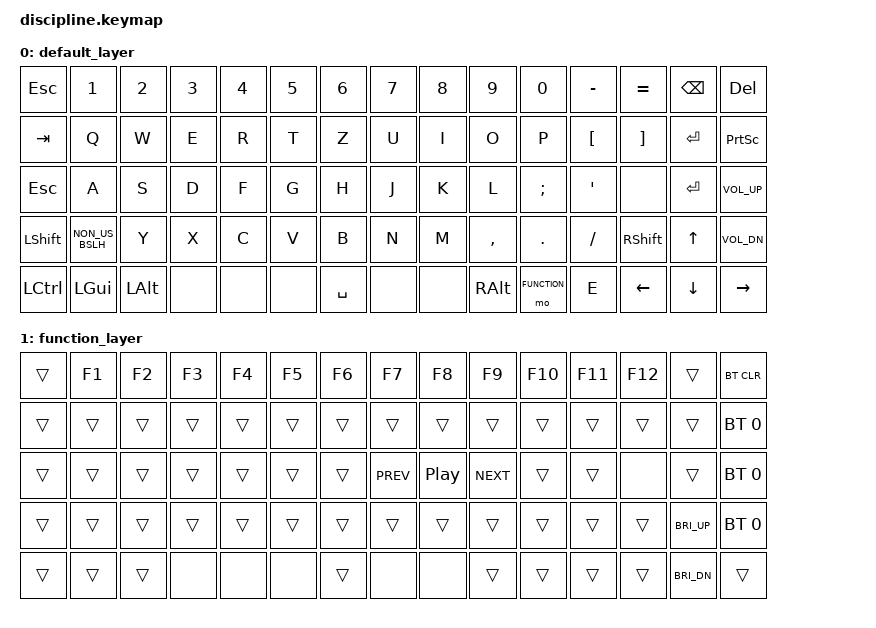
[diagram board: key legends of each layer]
#include <behaviors.dtsi>
#include <dt-bindings/zmk/keys.h>
#include <dt-bindings/zmk/bt.h>

#define DEFAULT 0
#define FUNCTION 1

/ {
	keymap {
		compatible = "zmk,keymap";

		default_layer {
			bindings = <
				&kp ESC		&kp N1		&kp N2		&kp N3	&kp N4	&kp N5	&kp N6		&kp N7	&kp N8	&kp N9		&kp N0		&kp MINUS	&kp EQUAL	&kp BSPC	&kp DEL
				&kp TAB		&kp Q		&kp W		&kp E	&kp R	&kp T	&kp Z		&kp U	&kp I	&kp O		&kp P		&kp LBKT	&kp RBKT	&kp RET		&kp PSCRN
				&kp ESC		&kp A		&kp S		&kp D	&kp F	&kp G	&kp H		&kp J	&kp K	&kp L		&kp SEMI	&kp SQT		&none		&kp RET		&kp C_VOL_UP
				&kp LSHFT	&kp NON_US_BSLH	&kp Y		&kp X	&kp C	&kp V	&kp B		&kp N	&kp M	&kp COMMA	&kp DOT		&kp FSLH	&kp RSHFT	&kp UP		&kp C_VOL_DN
				&kp LCTRL	&kp LGUI	&kp LALT	&none	&none	&none	&kp SPACE	&none	&none	&kp RALT	&mo FUNCTION	&kp E		&kp LEFT	&kp DOWN	&kp RIGHT	

			//	&kp B	&kp B	&kp B	&kp B	&kp B	&kp B	&kp B	&kp B	&kp B	&kp B	&kp B	&kp B	&kp B	&kp B	&kp B	
			//	&kp C	&kp C	&kp C	&kp C	&kp C	&kp C	&kp C	&kp C	&kp C	&kp C	&kp C	&kp C	&none	&kp C	&kp C	
			//	&kp D	&kp D	&kp D	&kp D	&kp D	&kp D	&kp D	&kp D	&kp D	&kp D	&kp D	&kp D	&kp D	&kp D	&kp D	
			//	&kp E	&kp E	&kp E	&none	&none	&none	&kp E	&none	&none	&kp E	&kp E	&kp E	&kp E	&kp E	&kp E	
				//&kp ESC	&kp A	&kp S	&kp D	&kp F	&kp G	&kp H	&kp J	&kp K	&kp L	&kp SEMI	&kp SQT	&kp RET	&kp ESC
				//&kp LSHFT	&kp LT	&kp Y	&kp X	&kp C	&kp V	&kp B	&kp N	&kp M	&kp COMMA	&kp DOT	&kp FSLH	&kp RSHFT	&kp UP	&kp ESC
				//&kp LCTRL	&kp LWIN	&kp LALT	&kp SPACE	&kp RALT	&kp RWIN	&kp RCTRL	&kp LEFT	&kp DOWN	&kp RIGHT
			>;

		};

		function_layer {
			bindings = <
				&trans	&kp F1	&kp F2	&kp F3	&kp F4	&kp F5	&kp F6	&kp F7	&kp F8	&kp F9	&kp F10	&kp F11	&kp F12	&trans	&bt BT_CLR
				&trans	&trans	&trans	&trans	&trans	&trans	&trans	&trans	&trans	&trans	&trans	&trans	&trans	&trans	&bt BT_SEL 0
				&trans	&trans	&trans	&trans	&trans	&trans	&trans	&kp C_PREV	&kp C_PP	&kp C_NEXT	&trans	&trans	&none	&trans	&bt BT_SEL 0
				&trans	&trans	&trans	&trans	&trans	&trans	&trans	&trans	&trans	&trans	&trans	&trans	&trans	&kp C_BRI_UP	&bt BT_SEL 0
				&trans	&trans	&trans	&none	&none	&none	&trans	&none	&none	&trans	&trans	&trans	&trans	&kp C_BRI_DN	&trans	
			>;
				//&trans	&trans	&trans	&trans	&trans	&trans	&trans	&trans	&trans	&trans	&trans	&trans	&trans	&trans	&trans
				//&trans	&trans	&trans	&trans	&trans	&trans	&trans	&trans	&trans	&trans	&trans	&trans	&trans	&trans	&trans
				//&trans	&trans	&trans	&trans	&trans	&trans	&trans	&trans	&trans	&trans	&trans	&trans	&none	&trans	&trans
				//&trans	&trans	&trans	&trans	&trans	&trans	&trans	&trans	&trans	&trans	&trans	&trans	&trans	&trans	&trans
				//&trans	&trans	&trans	&none	&none	&none	&trans	&none	&none	&trans	&trans	&trans	&trans	&trans	&trans
		};
	};
};
